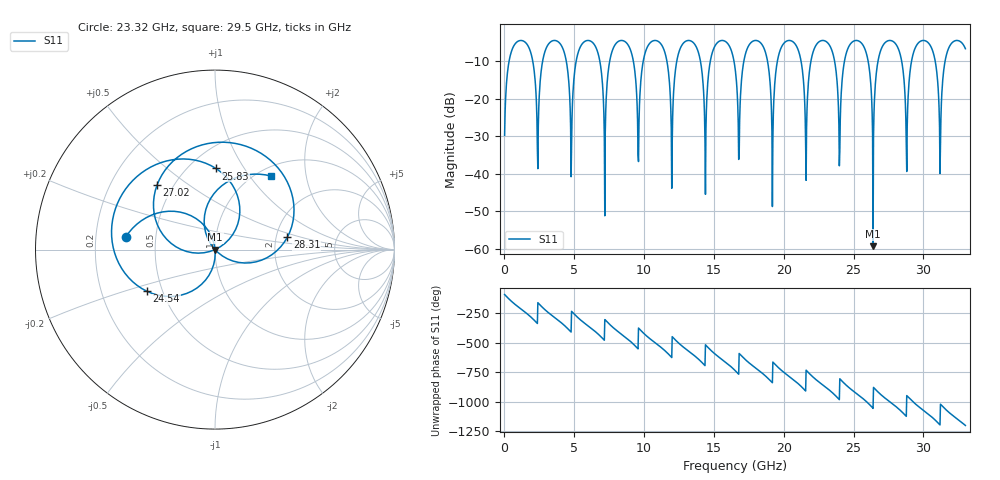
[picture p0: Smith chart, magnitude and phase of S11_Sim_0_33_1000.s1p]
!Created with skrf (http://scikit-rf.org).
# GHz S RI R 50
!freq ReS11 ImS11
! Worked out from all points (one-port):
!   999 points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, 33.03 MHz to 33 GHz, reference 50 ohm
!   lowest |S11| = -59.3 dB at 26.39 GHz (marker M1), VSWR 1.00, Z = 50.1 + j0.0409 ohm
!   |S11| at or under -10 dB: 9.248 GHz to 9.948 GHz (699.3 MHz wide, 7.29 % of centre); 16.45 GHz to 17.15 GHz (699.2 MHz wide, 4.16 % of centre); 23.65 GHz to 24.34 GHz (699.5 MHz wide, 2.92 % of centre)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
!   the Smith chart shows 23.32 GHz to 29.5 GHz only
!   S11 on the Smith chart (normalised r, x): 23.32 GHz: 0.33, +0.06; 24.54 GHz: 0.41, -0.24; 25.83 GHz: 0.67, +0.76; 27.02 GHz: 0.41, +0.38; 28.31 GHz: 2.30, +0.38; 29.5 GHz: 1.15, +1.28
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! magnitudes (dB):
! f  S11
! 33.03 MHz  -29.7
! 825.8 MHz  -5.1
! 2.411 GHz  -38.6
! 4.162 GHz  -6.2
! 4.79 GHz  -40.8
! 6.508 GHz  -5.8
! 7.201 GHz  -51.2
! 8.291 GHz  -4.5
! 9.58 GHz  -34.9
! 10.34 GHz  -5.5
! 12.42 GHz  -8.7
! 16.55 GHz  -12.6
! 18.4 GHz  -5.3
! 19.19 GHz  -48.8
! 20.65 GHz  -4.7
! 21.6 GHz  -41.8
! 23.32 GHz  -6.0
! 23.98 GHz  -37.9
! 24.54 GHz  -7.0
! 24.77 GHz  -5.3
! 25.83 GHz  -6.9
! 26.39 GHz  -59.3
! 27.02 GHz  -6.3
! 28.31 GHz  -7.8
! 28.9 GHz  -19.4
! 29.5 GHz  -5.8
! 31.18 GHz  -40.0
! 33 GHz  -6.6
